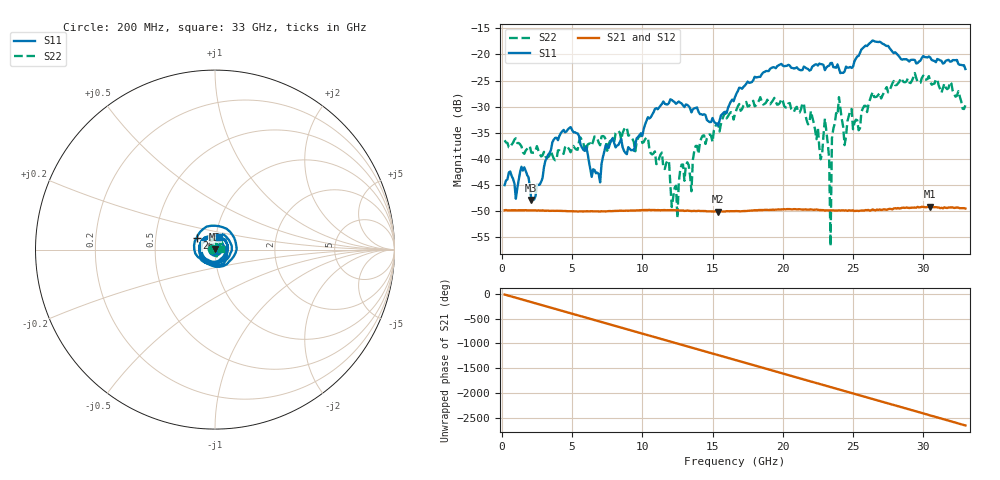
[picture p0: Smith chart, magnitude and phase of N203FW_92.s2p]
# GHZ S RI R 50
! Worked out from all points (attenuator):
!   329 points, 200 MHz to 33 GHz, reference 50 ohm
!   highest |S21| = -49.26 dB at 30.5 GHz (marker M1); lowest = -50.2 dB at 15.4 GHz (marker M2)
!   lowest |S11| = -48.0 dB at 2.1 GHz (marker M3), VSWR 1.01, Z = 49.9 + j0.39 ohm
!   |S11| at or under -10 dB: start of sweep to end of sweep
!   |S22| runs from -56.8 to -23.6 dB; largest |S21 - S12| = 8.9e-05
!   S11 on the Smith chart (normalised r, x): 200 MHz: 1.01, +0.00; 26 GHz: 0.81, +0.10; 33 GHz: 1.03, +0.14
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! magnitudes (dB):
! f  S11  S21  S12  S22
! 200 MHz  -45.1  -49.9  -49.9  -36.5
! 2.1 GHz  -48.0  -50.0  -50.0  -38.9
! 5.7 GHz  -37.8  -50.2  -50.1  -36.5
! 7 GHz  -44.6  -50.2  -50.1  -37.5
! 11.2 GHz  -30.2  -49.9  -49.9  -39.9
! 12.5 GHz  -29.3  -50.0  -50.0  -51.4
! 12.8 GHz  -29.4  -50.0  -50.0  -41.2
! 13.5 GHz  -31.1  -50.1  -50.1  -46.3
! 15.4 GHz  -33.7  -50.2  -50.2  -33.3
! 16.6 GHz  -28.2  -50.1  -50.1  -31.4
! 22.1 GHz  -22.3  -49.8  -49.8  -32.0
! 22.7 GHz  -21.8  -49.9  -49.9  -40.1
! 23 GHz  -23.0  -50.0  -50.0  -32.3
! 23.3 GHz  -22.1  -50.0  -50.0  -39.9
! 23.4 GHz  -21.7  -50.0  -50.0  -56.8
! 23.5 GHz  -21.6  -50.0  -49.9  -36.1
! 24 GHz  -22.7  -49.9  -50.0  -28.2
! 24.4 GHz  -23.3  -50.0  -49.9  -37.4
! 26 GHz  -18.4  -49.9  -49.9  -31.1
! 27.6 GHz  -18.7  -49.7  -49.7  -27.0
! 30.5 GHz  -20.6  -49.3  -49.3  -25.3
! 33 GHz  -22.8  -49.6  -49.7  -29.8
